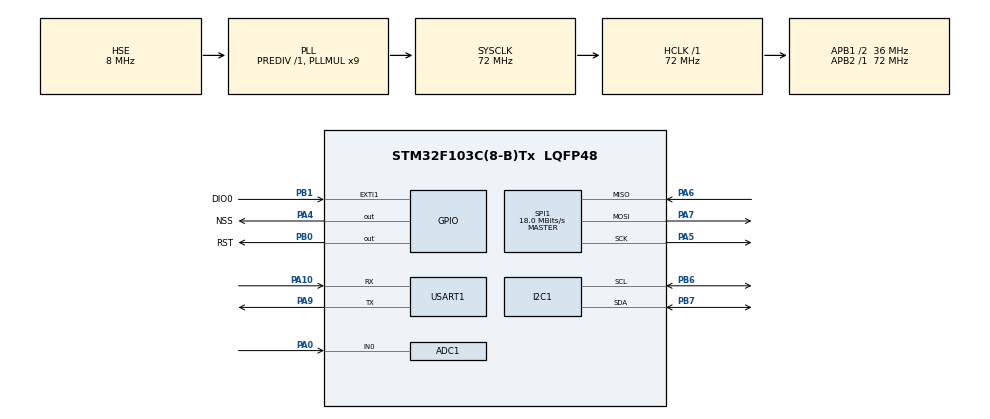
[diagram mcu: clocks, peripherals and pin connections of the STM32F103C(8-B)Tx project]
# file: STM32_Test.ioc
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ADC1.Channel-7\#ChannelRegularConversion=ADC_CHANNEL_0
ADC1.ContinuousConvMode=ENABLE
ADC1.NbrOfConversionFlag=1
ADC1.Rank-7\#ChannelRegularConversion=1
ADC1.SamplingTime-7\#ChannelRegularConversion=ADC_SAMPLETIME_1CYCLE_5
ADC1.master=1
Mcu.Family=STM32F1
Mcu.Name=STM32F103C(8-B)Tx
Mcu.Package=LQFP48
NVIC.EXTI1_IRQn=true\:0\:0\:false\:false\:true\:true\:true\:true
NVIC.PriorityGroup=NVIC_PRIORITYGROUP_4
NVIC.TIM1_UP_IRQn=true\:0\:0\:false\:false\:true\:true\:true\:true
PA0-WKUP.Signal=ADCx_IN0
PA10.Mode=Asynchronous
PA10.Signal=USART1_RX
PA13.Mode=Serial_Wire
PA13.Signal=SYS_JTMS-SWDIO
PA14.Mode=Serial_Wire
PA14.Signal=SYS_JTCK-SWCLK
PA4.GPIO_Label=NSS
PA4.PinState=GPIO_PIN_SET
PA4.Signal=GPIO_Output
PA5.Mode=Full_Duplex_Master
PA5.Signal=SPI1_SCK
PA6.Mode=Full_Duplex_Master
PA6.Signal=SPI1_MISO
PA7.Mode=Full_Duplex_Master
PA7.Signal=SPI1_MOSI
PA9.Mode=Asynchronous
PA9.Signal=USART1_TX
PB0.GPIO_Label=RST
PB0.PinState=GPIO_PIN_SET
PB0.Signal=GPIO_Output
PB1.GPIO_Label=DIO0
PB1.Signal=GPXTI1
PB6.Mode=I2C
PB6.Signal=I2C1_SCL
PB7.Mode=I2C
PB7.Signal=I2C1_SDA
PD0-OSC_IN.Mode=HSE-External-Oscillator
PD0-OSC_IN.Signal=RCC_OSC_IN
PD1-OSC_OUT.Mode=HSE-External-Oscillator
PD1-OSC_OUT.Signal=RCC_OSC_OUT
ProjectManager.HeapSize=0x200
ProjectManager.StackSize=0x400
ProjectManager.TargetToolchain=STM32CubeIDE
RCC.ADCPresc=RCC_ADCPCLK2_DIV6
RCC.AHBFreq_Value=72000000
RCC.APB1CLKDivider=RCC_HCLK_DIV2
RCC.APB1Freq_Value=36000000
RCC.APB1TimFreq_Value=72000000
RCC.APB2Freq_Value=72000000
RCC.APB2TimFreq_Value=72000000
RCC.HCLKFreq_Value=72000000
RCC.PLLMUL=RCC_PLL_MUL9
RCC.PLLSourceVirtual=RCC_PLLSOURCE_HSE
RCC.RTCClockSelection=RCC_RTCCLKSOURCE_LSE
RCC.SYSCLKFreq_VALUE=72000000
RCC.SYSCLKSource=RCC_SYSCLKSOURCE_PLLCLK
RCC.USBFreq_Value=72000000
SH.ADCx_IN0.0=ADC1_IN0,IN0
SPI1.BaudRatePrescaler=SPI_BAUDRATEPRESCALER_4
SPI1.CalculateBaudRate=18.0 MBits/s
SPI1.Direction=SPI_DIRECTION_2LINES
SPI1.Mode=SPI_MODE_MASTER
SPI1.VirtualType=VM_MASTER
TIM1.Period=39999
TIM1.Prescaler=35999
USART1.VirtualMode=VM_ASYNC
VP_TIM1_VS_ClockSourceINT.Mode=Internal
board=custom

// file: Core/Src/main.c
/* USER CODE BEGIN Header */
/**
  ******************************************************************************
  * @file           : main.c
  * @brief          : Main program body
  ******************************************************************************
  * @attention
  *
  * Copyright (c) 2025 STMicroelectronics.
  * All rights reserved.
  *
  * This software is licensed under terms that can be found in the LICENSE file
  * in the root directory of this software component.
  * If no LICENSE file comes with this software, it is provided AS-IS.
  *
  ******************************************************************************
  */
/* USER CODE END Header */
#include "main.h"
#include "adc.h"
#include "i2c.h"
#include "spi.h"
#include "tim.h"
#include "usart.h"
#include "gpio.h"

/* USER CODE BEGIN Includes */
#include "LoRa.h"
#include "sht3x.h"
/* USER CODE END Includes */

/* USER CODE BEGIN PD */
#define NODE_ID 2
#define SEND_OFFSET_MS 5000
/* USER CODE END PD */

/* USER CODE BEGIN PV */
sht3x_handle_t sht3x;
LoRa myLoRa;							// Cấu trúc cấu hình LoRa
uint16_t LoRa_status;					// Trạng thái khởi tạo LoRa
char TxBuffer[256];
char DebugBuffer[256];
extern volatile uint8_t TxDoneFlag;	    // Cờ báo ngắt TX Done từ LoRa (set trong callback EXTI)
volatile uint8_t TimerFlag = 0;			// Cờ báo tick định kỳ từ TIM1 (set trong callback Timer)
float temp, hum;
uint16_t soil_raw = 0;
float soil_vol = 0.0f;
/* USER CODE END PV */

void SystemClock_Config(void);
/* USER CODE BEGIN PFP */
float SoilMoisture_Convert(uint16_t adc_value);   // Hàm chuyển đổi giá trị ADC sang phần trăm độ ẩm đất
/* USER CODE END PFP */

int main(void)
{

  /* MCU Configuration--------------------------------------------------------*/

  /* Reset of all peripherals, Initializes the Flash interface and the Systick. */
  HAL_Init();

  /* Configure the system clock */
  SystemClock_Config();

  /* Initialize all configured peripherals */
  MX_GPIO_Init();
  MX_USART1_UART_Init();
  MX_SPI1_Init();
  MX_TIM1_Init();
  MX_I2C1_Init();
  MX_ADC1_Init();
  /* USER CODE BEGIN 2 */
  sht3x.i2c_handle = &hi2c1;
  sht3x.device_address = SHT3X_I2C_DEVICE_ADDRESS_ADDR_PIN_LOW; // 0x44
  if (!sht3x_init(&sht3x)) {
	  char msg[] = "SHT3x init failed!\r\n";
      HAL_UART_Transmit(&huart1, (uint8_t*)msg, strlen(msg), HAL_MAX_DELAY);
      while (1);
  }
  char msg[] = "SHT3x init OK\r\n";
  HAL_UART_Transmit(&huart1, (uint8_t*)msg, strlen(msg), HAL_MAX_DELAY);

  myLoRa = newLoRa();
  myLoRa.CS_port         = NSS_GPIO_Port;
  myLoRa.CS_pin          = NSS_Pin;
  myLoRa.reset_port      = RST_GPIO_Port;
  myLoRa.reset_pin       = RST_Pin;
  myLoRa.DIO0_port       = DIO0_GPIO_Port;
  myLoRa.DIO0_pin        = DIO0_Pin;
  myLoRa.hSPIx           = &hspi1;

  myLoRa.frequency             = 433;
  myLoRa.spredingFactor        = SF_7;
  myLoRa.bandWidth             = BW_125KHz;
  myLoRa.crcRate               = CR_4_5;
  myLoRa.power                 = POWER_17db;
  myLoRa.overCurrentProtection = 100;
  myLoRa.preamble              = 8;

  LoRa_reset(&myLoRa);
  LoRa_status = LoRa_init(&myLoRa);
  snprintf(DebugBuffer, sizeof(DebugBuffer), "LoRa init result = %d\r\n", LoRa_status);
  HAL_UART_Transmit(&huart1, (uint8_t*)DebugBuffer, strlen(DebugBuffer), 200);
  if (LoRa_status != LORA_OK) {
      snprintf(DebugBuffer, sizeof(DebugBuffer), "Khởi tạo LoRa thất bại: %d\r\n", LoRa_status);
      HAL_UART_Transmit(&huart1, (uint8_t*)DebugBuffer, strlen(DebugBuffer), 200);
      while (1);
  }

  LoRa_setSyncWord(&myLoRa, 0x12);		// Cấu hình Sync Word
  LoRa_setTOMsb_setCRCon(&myLoRa);		// Bật CRC cho payload, cấu hình phần đầu gói (TOMsb/CRCon tuỳ thư viện)
  HAL_TIM_Base_Start_IT(&htim1);		// Bật Timer 1 ở chế độ ngắt định kỳ (chu kỳ cấu hình trong MX_TIM1_Init)

  /* USER CODE END 2 */

  /* Infinite loop */
  /* USER CODE BEGIN WHILE */

  while (1)
  {
	  if (TimerFlag) {
          TimerFlag = 0;			// Xoá cờ để xử lý một lần cho mỗi chu kỳ timer

          // Đọc SHT3x
          if (sht3x_read_temperature_and_humidity(&sht3x, &temp, &hum)) {

        	  // Đọc Soil Moisture
        	  HAL_ADC_Start(&hadc1);
        	  if (HAL_ADC_PollForConversion(&hadc1, 50) == HAL_OK) {
                  soil_raw = HAL_ADC_GetValue(&hadc1);
                  soil_vol = SoilMoisture_Convert(soil_raw);
              }
              HAL_ADC_Stop(&hadc1);

              // Chuẩn bị gói tin LoRa
        	  snprintf(TxBuffer, sizeof(TxBuffer), "ID=%d,T=%.1fC,RH=%.1f%%,Soil=%.1f%%Vol", NODE_ID, temp, hum, soil_vol);

        	  // Offset trước khi gửi
        	  HAL_Delay(SEND_OFFSET_MS);

        	  LoRa_gotoMode(&myLoRa, STNBY_MODE);
        	  HAL_Delay(2);
        	  LoRa_transmit(&myLoRa, (uint8_t*)TxBuffer, strlen(TxBuffer));
      	  } else {
      		  char err[] = "SHT3x read fail\r\n";
      		  HAL_UART_Transmit(&huart1, (uint8_t*)err, sizeof(err)-1, 50);
      	  }
	  }

	  if (TxDoneFlag) {
          TxDoneFlag = 0;
          snprintf(DebugBuffer, sizeof(DebugBuffer), "TxDone IRQ at %lu ms\r\n", HAL_GetTick());
          HAL_UART_Transmit(&huart1, (uint8_t*)DebugBuffer, strlen(DebugBuffer), 200);
          LoRa_gotoMode(&myLoRa, SLEEP_MODE);
          HAL_PWR_EnterSLEEPMode(PWR_MAINREGULATOR_ON, PWR_SLEEPENTRY_WFI);
	  }
    /* USER CODE END WHILE */

  }
}

void SystemClock_Config(void)
{
  RCC_OscInitTypeDef RCC_OscInitStruct = {0};
  RCC_ClkInitTypeDef RCC_ClkInitStruct = {0};
  RCC_PeriphCLKInitTypeDef PeriphClkInit = {0};

  /** Initializes the RCC Oscillators according to the specified parameters
  * in the RCC_OscInitTypeDef structure.
  */
  RCC_OscInitStruct.OscillatorType = RCC_OSCILLATORTYPE_HSE;
  RCC_OscInitStruct.HSEState = RCC_HSE_ON;
  RCC_OscInitStruct.HSEPredivValue = RCC_HSE_PREDIV_DIV1;
  RCC_OscInitStruct.HSIState = RCC_HSI_ON;
  RCC_OscInitStruct.PLL.PLLState = RCC_PLL_ON;
  RCC_OscInitStruct.PLL.PLLSource = RCC_PLLSOURCE_HSE;
  RCC_OscInitStruct.PLL.PLLMUL = RCC_PLL_MUL9;
  if (HAL_RCC_OscConfig(&RCC_OscInitStruct) != HAL_OK)
  {
    Error_Handler();
  }

  /** Initializes the CPU, AHB and APB buses clocks
  */
  RCC_ClkInitStruct.ClockType = RCC_CLOCKTYPE_HCLK|RCC_CLOCKTYPE_SYSCLK
                              |RCC_CLOCKTYPE_PCLK1|RCC_CLOCKTYPE_PCLK2;
  RCC_ClkInitStruct.SYSCLKSource = RCC_SYSCLKSOURCE_PLLCLK;
  RCC_ClkInitStruct.AHBCLKDivider = RCC_SYSCLK_DIV1;
  RCC_ClkInitStruct.APB1CLKDivider = RCC_HCLK_DIV2;
  RCC_ClkInitStruct.APB2CLKDivider = RCC_HCLK_DIV1;

  if (HAL_RCC_ClockConfig(&RCC_ClkInitStruct, FLASH_LATENCY_2) != HAL_OK)
  {
    Error_Handler();
  }
  PeriphClkInit.PeriphClockSelection = RCC_PERIPHCLK_ADC;
  PeriphClkInit.AdcClockSelection = RCC_ADCPCLK2_DIV6;
  if (HAL_RCCEx_PeriphCLKConfig(&PeriphClkInit) != HAL_OK)
  {
    Error_Handler();
  }
}

/* USER CODE BEGIN 4 */
void HAL_GPIO_EXTI_Callback(uint16_t GPIO_Pin)
{
    if (GPIO_Pin == myLoRa.DIO0_pin)
    {
        uint8_t irqFlags = LoRa_read(&myLoRa, RegIrqFlags); // Đọc thanh ghi cờ ngắt của LoRa để kiểm tra sự kiện
        if (irqFlags & 0x08) {
            TxDoneFlag = 1;	// Set cờ để xử lý trong vòng lặp chính

        }
        LoRa_write(&myLoRa, RegIrqFlags, irqFlags); // Xoá cờ ngắt trong LoRa
    }
}

void HAL_TIM_PeriodElapsedCallback(TIM_HandleTypeDef *htim)
{
    if (htim->Instance == TIM1)
    {
        TimerFlag = 1;	// Báo vòng lặp chính thực hiện đo + gửi

    }
}

/**
 * @brief Chuyển đổi giá trị ADC sang phần trăm độ ẩm đất (%Vol)
 * @param adc_value: giá trị ADC thô (0..4095 tuỳ cấu hình)
 * @note  Hiệu chuẩn giả định:
 *        - 2500 -> 0% (khô)
 *        - 830  -> 60% (ẩm)
 *        Tuyến tính giữa hai điểm. Ngoài khoảng thì kẹp về biên.
 */

float SoilMoisture_Convert(uint16_t adc_value)
{
    // Giới hạn giá trị trong khoảng hiệu chuẩn
    if (adc_value > 2500) adc_value = 2500;
    if (adc_value < 830)  adc_value = 830;

    // Nội suy tuyến tính: 2500 -> 0%, 830 -> 60%
    float percent = (float)(2500 - adc_value) * 60.0f / (2500 - 830);

    return percent;
}

/* USER CODE END 4 */

void Error_Handler(void)
{
  __disable_irq();
  while (1)
  {
  }
}
